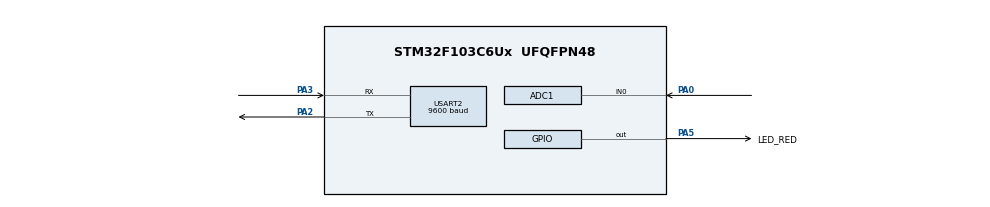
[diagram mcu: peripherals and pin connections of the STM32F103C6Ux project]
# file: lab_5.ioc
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ADC1.Channel-1\#ChannelRegularConversion=ADC_CHANNEL_0
ADC1.ContinuousConvMode=ENABLE
ADC1.NbrOfConversionFlag=1
ADC1.Rank-1\#ChannelRegularConversion=1
ADC1.SamplingTime-1\#ChannelRegularConversion=ADC_SAMPLETIME_1CYCLE_5
ADC1.master=1
Mcu.Family=STM32F1
Mcu.Name=STM32F103C6Ux
Mcu.Package=UFQFPN48
NVIC.PriorityGroup=NVIC_PRIORITYGROUP_4
NVIC.TIM2_IRQn=true\:0\:0\:false\:false\:true\:true\:true\:true
NVIC.USART2_IRQn=true\:0\:0\:false\:false\:true\:true\:true\:true
PA0-WKUP.Signal=ADCx_IN0
PA2.Mode=Asynchronous
PA2.Signal=USART2_TX
PA3.Mode=Asynchronous
PA3.Signal=USART2_RX
PA5.GPIO_Label=LED_RED
PA5.Signal=GPIO_Output
ProjectManager.HeapSize=0x200
ProjectManager.StackSize=0x400
ProjectManager.TargetToolchain=STM32CubeIDE
RCC.APB1Freq_Value=8000000
RCC.APB2Freq_Value=8000000
SH.ADCx_IN0.0=ADC1_IN0,IN0
TIM2.Period=9
TIM2.Prescaler=7999
USART2.BaudRate=9600
USART2.VirtualMode=VM_ASYNC
VP_SYS_VS_ND.Mode=No_Debug
VP_TIM2_VS_ClockSourceINT.Mode=Internal
board=custom

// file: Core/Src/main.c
/* USER CODE BEGIN Header */
/**
  ******************************************************************************
  * @file           : main.c
  * @brief          : Main program body
  ******************************************************************************
  * @attention
  *
  * Copyright (c) 2023 STMicroelectronics.
  * All rights reserved.
  *
  * This software is licensed under terms that can be found in the LICENSE file
  * in the root directory of this software component.
  * If no LICENSE file comes with this software, it is provided AS-IS.
  *
  ******************************************************************************
  */
/* USER CODE END Header */
#include "main.h"
#include "string.h"
#include "stdio.h"

ADC_HandleTypeDef hadc1;

TIM_HandleTypeDef htim2;

UART_HandleTypeDef huart2;

void SystemClock_Config(void);
static void MX_GPIO_Init(void);
static void MX_ADC1_Init(void);
static void MX_USART2_UART_Init(void);
static void MX_TIM2_Init(void);

/* USER CODE BEGIN 0 */
#define RST_FLAG 1
#define OK_FLAG 2
#define MAX_BUFFER_SIZE 30
uint8_t temp = 0;
uint8_t buffer[MAX_BUFFER_SIZE];
uint8_t index_buffer = 0;
uint8_t buffer_flag = 0;
uint32_t ADC_value = 0;
uint8_t command_flag = 0;

void HAL_UART_RxCpltCallback(UART_HandleTypeDef *huart) {
    if (huart->Instance == USART2) {

        // Thêm ký tự nhận được vào bộ đệm
        buffer[index_buffer++] = temp;

        // Kiểm tra xem đã đạt kích thước tối đa của bộ đệm chưa
        if (index_buffer == MAX_BUFFER_SIZE) {
            index_buffer = 0; // Ghi đè các giá trị cũ bằng cách đặt lại vị trí về 0
        }

        // Đánh dấu có dữ liệu mới trong bộ đệm
        buffer_flag = 1;
        HAL_UART_Receive_IT(&huart2, &temp, 1);
    }
}

void read_command_from_buffer(char *command) {
    int i = 0;
    // Copy characters from buffer until end-of-command character '#' or reach MAX_BUFFER_SIZE
    while (i < MAX_BUFFER_SIZE && buffer[i] != '\0') {
        command[i] = buffer[i];
        i++;
    }
    command[i] = '\0'; // Add string terminator
    // Clear buffer after reading
    memset(buffer, 0, MAX_BUFFER_SIZE);
    index_buffer = 0; // Reset buffer index
}

void send_sensor_data() {
	ADC_value = HAL_ADC_GetValue(&hadc1);
    char response[30];
    // Định dạng dữ liệu ADC để gửi
    sprintf(response, "!ADC=%lu#", ADC_value);
    // Gửi dữ liệu qua UART
    HAL_UART_Transmit(&huart2, (uint8_t*)response, strlen(response), 1000);
}

void command_parser_fsm() {
    if (buffer_flag) {
        char command[MAX_BUFFER_SIZE];
        read_command_from_buffer(command);

        if (strcmp(command, "!RST#") == 0) {
            command_flag = RST_FLAG;
        } else if (strcmp(command, "!OK#") == 0) {
            command_flag = OK_FLAG;
        }
        // Reset the buffer flag after processing
        buffer_flag = 0;
    }
}

void uart_communication_fsm() {
    static uint32_t lastCommandTime = 0;

    if (command_flag == RST_FLAG) {
        send_sensor_data();
        lastCommandTime = HAL_GetTick();  // Update the time of the last command
        command_flag = 0;
    } else if (command_flag == OK_FLAG) {
        // Handle end of communication
        command_flag = 0;
    } else if (HAL_GetTick() - lastCommandTime > 3000) {
        // Resend the sensor data if no "!OK#" command is received within 3 seconds
        send_sensor_data();
        lastCommandTime = HAL_GetTick();  // Update the resend time
    }
}

/* USER CODE END 0 */

int main(void)
{

  /* MCU Configuration--------------------------------------------------------*/

  /* Reset of all peripherals, Initializes the Flash interface and the Systick. */
  HAL_Init();

  /* Configure the system clock */
  SystemClock_Config();

  /* Initialize all configured peripherals */
  MX_GPIO_Init();
  MX_ADC1_Init();
  MX_USART2_UART_Init();
  MX_TIM2_Init();

  /* Infinite loop */
  /* USER CODE BEGIN WHILE */
  HAL_UART_Receive_IT (&huart2 ,&temp , 1) ;
  while (1)
  {

	  if(buffer_flag == 1){
		  command_parser_fsm();
	  }
	  uart_communication_fsm();
	  HAL_GPIO_TogglePin (LED_RED_GPIO_Port , LED_RED_Pin);
	  HAL_Delay (600);
    /* USER CODE END WHILE */

  }
}

void SystemClock_Config(void)
{
  RCC_OscInitTypeDef RCC_OscInitStruct = {0};
  RCC_ClkInitTypeDef RCC_ClkInitStruct = {0};
  RCC_PeriphCLKInitTypeDef PeriphClkInit = {0};

  /** Initializes the RCC Oscillators according to the specified parameters
  * in the RCC_OscInitTypeDef structure.
  */
  RCC_OscInitStruct.OscillatorType = RCC_OSCILLATORTYPE_HSI;
  RCC_OscInitStruct.HSIState = RCC_HSI_ON;
  RCC_OscInitStruct.HSICalibrationValue = RCC_HSICALIBRATION_DEFAULT;
  RCC_OscInitStruct.PLL.PLLState = RCC_PLL_NONE;
  if (HAL_RCC_OscConfig(&RCC_OscInitStruct) != HAL_OK)
  {
    Error_Handler();
  }

  /** Initializes the CPU, AHB and APB buses clocks
  */
  RCC_ClkInitStruct.ClockType = RCC_CLOCKTYPE_HCLK|RCC_CLOCKTYPE_SYSCLK
                              |RCC_CLOCKTYPE_PCLK1|RCC_CLOCKTYPE_PCLK2;
  RCC_ClkInitStruct.SYSCLKSource = RCC_SYSCLKSOURCE_HSI;
  RCC_ClkInitStruct.AHBCLKDivider = RCC_SYSCLK_DIV1;
  RCC_ClkInitStruct.APB1CLKDivider = RCC_HCLK_DIV1;
  RCC_ClkInitStruct.APB2CLKDivider = RCC_HCLK_DIV1;

  if (HAL_RCC_ClockConfig(&RCC_ClkInitStruct, FLASH_LATENCY_0) != HAL_OK)
  {
    Error_Handler();
  }
  PeriphClkInit.PeriphClockSelection = RCC_PERIPHCLK_ADC;
  PeriphClkInit.AdcClockSelection = RCC_ADCPCLK2_DIV2;
  if (HAL_RCCEx_PeriphCLKConfig(&PeriphClkInit) != HAL_OK)
  {
    Error_Handler();
  }
}

static void MX_ADC1_Init(void)
{

  ADC_ChannelConfTypeDef sConfig = {0};

  /** Common config
  */
  hadc1.Instance = ADC1;
  hadc1.Init.ScanConvMode = ADC_SCAN_DISABLE;
  hadc1.Init.ContinuousConvMode = ENABLE;
  hadc1.Init.DiscontinuousConvMode = DISABLE;
  hadc1.Init.ExternalTrigConv = ADC_SOFTWARE_START;
  hadc1.Init.DataAlign = ADC_DATAALIGN_RIGHT;
  hadc1.Init.NbrOfConversion = 1;
  if (HAL_ADC_Init(&hadc1) != HAL_OK)
  {
    Error_Handler();
  }

  /** Configure Regular Channel
  */
  sConfig.Channel = ADC_CHANNEL_0;
  sConfig.Rank = ADC_REGULAR_RANK_1;
  sConfig.SamplingTime = ADC_SAMPLETIME_1CYCLE_5;
  if (HAL_ADC_ConfigChannel(&hadc1, &sConfig) != HAL_OK)
  {
    Error_Handler();
  }

}

static void MX_TIM2_Init(void)
{

  TIM_ClockConfigTypeDef sClockSourceConfig = {0};
  TIM_MasterConfigTypeDef sMasterConfig = {0};

  htim2.Instance = TIM2;
  htim2.Init.Prescaler = 7999;
  htim2.Init.CounterMode = TIM_COUNTERMODE_UP;
  htim2.Init.Period = 9;
  htim2.Init.ClockDivision = TIM_CLOCKDIVISION_DIV1;
  htim2.Init.AutoReloadPreload = TIM_AUTORELOAD_PRELOAD_DISABLE;
  if (HAL_TIM_Base_Init(&htim2) != HAL_OK)
  {
    Error_Handler();
  }
  sClockSourceConfig.ClockSource = TIM_CLOCKSOURCE_INTERNAL;
  if (HAL_TIM_ConfigClockSource(&htim2, &sClockSourceConfig) != HAL_OK)
  {
    Error_Handler();
  }
  sMasterConfig.MasterOutputTrigger = TIM_TRGO_RESET;
  sMasterConfig.MasterSlaveMode = TIM_MASTERSLAVEMODE_DISABLE;
  if (HAL_TIMEx_MasterConfigSynchronization(&htim2, &sMasterConfig) != HAL_OK)
  {
    Error_Handler();
  }

}

static void MX_USART2_UART_Init(void)
{

  huart2.Instance = USART2;
  huart2.Init.BaudRate = 9600;
  huart2.Init.WordLength = UART_WORDLENGTH_8B;
  huart2.Init.StopBits = UART_STOPBITS_1;
  huart2.Init.Parity = UART_PARITY_NONE;
  huart2.Init.Mode = UART_MODE_TX_RX;
  huart2.Init.HwFlowCtl = UART_HWCONTROL_NONE;
  huart2.Init.OverSampling = UART_OVERSAMPLING_16;
  if (HAL_UART_Init(&huart2) != HAL_OK)
  {
    Error_Handler();
  }

}

static void MX_GPIO_Init(void)
{
  GPIO_InitTypeDef GPIO_InitStruct = {0};

  /* GPIO Ports Clock Enable */
  __HAL_RCC_GPIOA_CLK_ENABLE();

  /*Configure GPIO pin Output Level */
  HAL_GPIO_WritePin(LED_RED_GPIO_Port, LED_RED_Pin, GPIO_PIN_RESET);

  /*Configure GPIO pin : LED_RED_Pin */
  GPIO_InitStruct.Pin = LED_RED_Pin;
  GPIO_InitStruct.Mode = GPIO_MODE_OUTPUT_PP;
  GPIO_InitStruct.Pull = GPIO_NOPULL;
  GPIO_InitStruct.Speed = GPIO_SPEED_FREQ_LOW;
  HAL_GPIO_Init(LED_RED_GPIO_Port, &GPIO_InitStruct);

}

void Error_Handler(void)
{
  __disable_irq();
  while (1)
  {
  }
}
